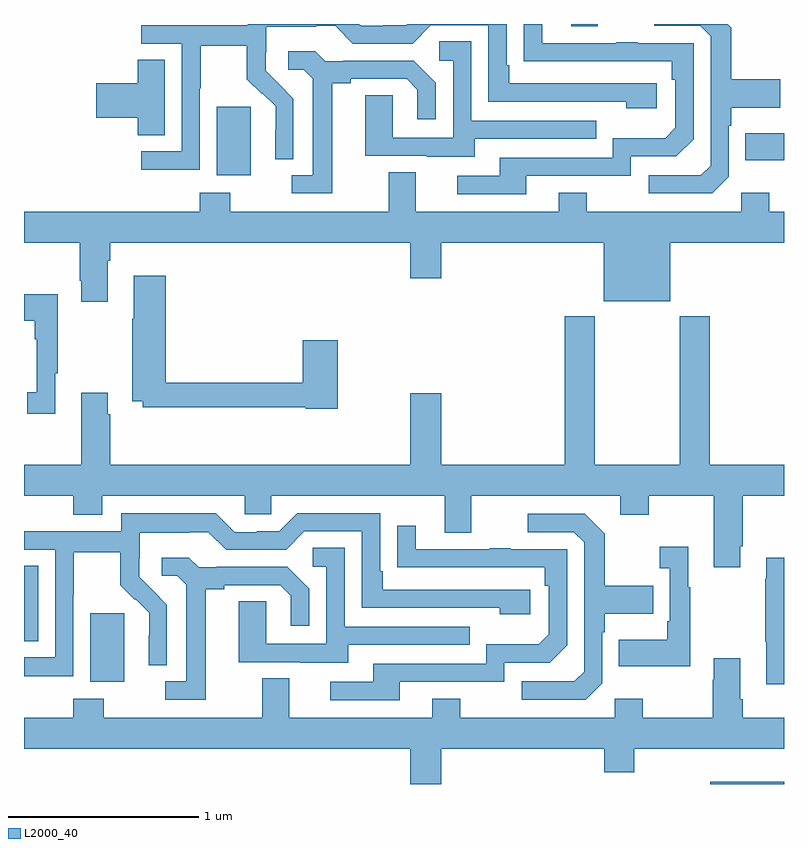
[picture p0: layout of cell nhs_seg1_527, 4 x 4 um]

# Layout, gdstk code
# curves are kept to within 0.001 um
import gdstk
lib = gdstk.Library(unit=1e-6, precision=1e-09)
def R(c, l, rs):  # rectangles x0, y0, x1, y1
    for r in rs: c.add(gdstk.rectangle(r[:2], r[2:], *l))
def P(c, l, *ps):  # polygons
    for p in ps: c.add(gdstk.Polygon(p, *l))
L2000_40 = (2000, 40)

nhs_seg1_527 = lib.new_cell('nhs_seg1_527')
R(nhs_seg1_527, L2000_40, [(142.611,566.199,143,566.212), (139.349,566.738,139.528,567.099), (139,566.95,139.075,567.347), (140.015,569.402,140.194,569.763), (142.795,569.483,143,569.623), (141.881,570.186,142.021,570.199)])
P(nhs_seg1_527, L2000_40, [(139.926,569.86),(139.929,569.86),(139.929,570.084),(140.173,570.084),(140.173,569.909),(140.25,569.832),(140.253,569.835),(140.324,569.765),(140.324,569.642),(140.322,569.642),(140.322,569.488),(140.418,569.488),(140.418,569.806),(140.272,569.954),(140.272,570.051),(140.274,570.051),(140.274,570.185),(140.537,570.185),(140.537,570.189),(140.637,570.189),(140.73,570.096),(141.045,570.096),(141.141,570.192),(141.444,570.192),(141.444,569.79),(142.169,569.79),(142.169,569.756),(142.33,569.756),(142.33,569.886),(141.553,569.886),(141.553,569.983),(141.54,569.983),(141.54,570.199),(141.016,570.199),(141.009,570.192),(140.891,570.192),(140.891,570.189),(140.775,570.189),(140.765,570.199),(140.178,570.199),(140.178,570.192),(139.617,570.192),(139.617,570.096),(139.83,570.096),(139.83,569.529),(139.617,569.529),(139.617,569.431),(139.926,569.431)],
  [(141.643,569.4),(142.194,569.4),(142.194,569.502),(142.434,569.502),(142.524,569.592),(142.524,570.099),(142.229,570.099),(142.229,570.104),(142.117,570.104),(142.117,570.099),(141.727,570.099),(141.727,570.199),(141.631,570.199),(141.631,570.004),(142.408,570.003),(142.408,569.906),(142.428,569.906),(142.428,569.652),(142.375,569.599),(142.098,569.599),(142.098,569.496),(141.503,569.496),(141.503,569.4),(141.279,569.4),(141.279,569.304),(141.643,569.304)],
  [(142.71,569.394),(142.71,569.663),(142.723,569.663),(142.723,569.759),(142.979,569.759),(142.979,569.907),(142.723,569.907),(142.723,570.179),(142.703,570.199),(142.317,570.199),(142.317,570.189),(142.56,570.189),(142.614,570.135),(142.614,569.454),(142.563,569.403),(142.287,569.403),(142.287,569.307),(142.623,569.307)],
  [(141.373,569.595),(142.013,569.595),(142.013,569.691),(141.354,569.691),(141.354,570.107),(141.186,570.107),(141.186,570.006),(141.258,570.006),(141.258,569.601),(140.94,569.601),(140.94,569.825),(140.795,569.825),(140.795,569.505),(141.119,569.505),(141.119,569.501),(141.373,569.501)],
  [(140.623,569.888),(140.719,569.888),(140.719,569.91),(141.014,569.91),(141.071,569.853),(141.071,569.697),(141.168,569.697),(141.168,569.89),(141.052,570.006),(140.68,570.006),(140.68,570.003),(140.586,570.003),(140.534,570.055),(140.391,570.055),(140.391,569.958),(140.472,569.958),(140.519,569.911),(140.519,569.403),(140.409,569.403),(140.409,569.307),(140.623,569.307)],
  [(139.741,570.011),(139.598,570.011),(139.598,569.888),(139.38,569.888),(139.38,569.705),(139.598,569.705),(139.598,569.614),(139.741,569.614)],
  [(139.441,568.952),(139.454,568.952),(139.454,569.048),(141.032,569.048),(141.032,568.86),(141.196,568.86),(141.196,569.048),(142.052,569.048),(142.052,568.739),(142.402,568.739),(142.402,569.048),(143,569.048),(143,569.212),(142.923,569.212),(142.923,569.311),(142.776,569.311),(142.776,569.212),(141.963,569.212),(141.963,569.311),(141.815,569.311),(141.815,569.212),(141.061,569.212),(141.061,569.42),(140.921,569.42),(140.921,569.212),(140.085,569.212),(140.085,569.311),(139.925,569.311),(139.925,569.212),(139,569.212),(139,569.048),(139.294,569.048),(139.294,568.849),(139.301,568.849),(139.301,568.737),(139.441,568.737)],
  [(140.651,568.534),(140.468,568.534),(140.468,568.31),(139.745,568.31),(139.745,568.873),(139.577,568.873),(139.577,568.649),(139.57,568.649),(139.57,568.214),(139.626,568.214),(139.626,568.182),(140.484,568.182),(140.484,568.174),(140.651,568.174)],
  [(139.165,568.361),(139.177,568.361),(139.177,568.777),(139,568.777),(139,568.637),(139.056,568.637),(139.056,568.541),(139.068,568.541),(139.068,568.262),(139.017,568.262),(139.017,568.149),(139.165,568.149)],
  [(142.771,567.451),(142.784,567.451),(142.784,567.716),(143,567.716),(143,567.88),(142.61,567.88),(142.61,568.66),(142.45,568.66),(142.45,567.88),(142.005,567.88),(142.005,568.66),(141.845,568.66),(141.845,567.88),(141.196,567.88),(141.196,568.255),(141.032,568.255),(141.032,567.88),(139.454,567.88),(139.454,568.145),(139.441,568.145),(139.441,568.258),(139.301,568.258),(139.301,567.88),(139,567.88),(139,567.716),(139.259,567.716),(139.259,567.617),(139.411,567.617),(139.411,567.716),(140.163,567.716),(140.163,567.618),(140.301,567.618),(140.301,567.716),(141.215,567.716),(141.215,567.522),(141.355,567.522),(141.355,567.716),(142.139,567.716),(142.139,567.617),(142.287,567.617),(142.287,567.716),(142.631,567.716),(142.631,567.339),(142.771,567.339)],
  [(139.26,567.196),(139.263,567.196),(139.263,567.42),(139.507,567.42),(139.507,567.245),(139.584,567.168),(139.587,567.171),(139.658,567.101),(139.658,566.978),(139.656,566.978),(139.656,566.824),(139.752,566.824),(139.752,567.142),(139.606,567.29),(139.606,567.387),(139.608,567.387),(139.608,567.521),(139.871,567.521),(139.871,567.525),(139.971,567.525),(140.064,567.432),(140.379,567.432),(140.475,567.528),(140.778,567.528),(140.778,567.126),(141.503,567.126),(141.503,567.092),(141.664,567.092),(141.664,567.222),(140.887,567.222),(140.887,567.319),(140.874,567.319),(140.874,567.624),(140.439,567.624),(140.343,567.528),(140.225,567.528),(140.225,567.525),(140.109,567.525),(140.009,567.625),(139.512,567.625),(139.512,567.528),(139,567.528),(139,567.432),(139.164,567.432),(139.164,566.865),(139,566.865),(139,566.767),(139.26,566.767)],
  [(142.044,566.73),(142.044,566.999),(142.057,566.999),(142.057,567.095),(142.313,567.095),(142.313,567.243),(142.057,567.243),(142.057,567.515),(141.951,567.621),(141.651,567.621),(141.651,567.525),(141.894,567.525),(141.948,567.471),(141.948,566.79),(141.897,566.739),(141.621,566.739),(141.621,566.643),(141.957,566.643)],
  [(140.977,566.736),(141.528,566.736),(141.528,566.838),(141.768,566.838),(141.858,566.928),(141.858,567.435),(141.563,567.435),(141.563,567.44),(141.451,567.44),(141.451,567.435),(141.061,567.435),(141.061,567.559),(140.965,567.559),(140.965,567.34),(141.742,567.339),(141.742,567.242),(141.762,567.242),(141.762,566.988),(141.709,566.935),(141.432,566.935),(141.432,566.832),(140.837,566.832),(140.837,566.736),(140.613,566.736),(140.613,566.64),(140.977,566.64)],
  [(142.507,567.235),(142.495,567.235),(142.495,567.448),(142.347,567.448),(142.347,567.335),(142.398,567.335),(142.398,567.055),(142.386,567.055),(142.386,566.959),(142.129,566.959),(142.129,566.819),(142.507,566.819)],
  [(140.707,566.931),(141.347,566.931),(141.347,567.027),(140.688,567.027),(140.688,567.443),(140.52,567.443),(140.52,567.342),(140.592,567.342),(140.592,566.937),(140.274,566.937),(140.274,567.161),(140.129,567.161),(140.129,566.841),(140.453,566.841),(140.453,566.837),(140.707,566.837)],
  [(143,567.391),(142.907,567.391),(142.907,567.278),(142.9,567.278),(142.9,566.947),(142.907,566.947),(142.907,566.724),(143,566.724)],
  [(139.957,567.224),(140.053,567.224),(140.053,567.246),(140.348,567.246),(140.405,567.189),(140.405,567.033),(140.502,567.033),(140.502,567.226),(140.386,567.342),(140.014,567.342),(140.014,567.339),(139.92,567.339),(139.868,567.391),(139.725,567.391),(139.725,567.294),(139.806,567.294),(139.853,567.247),(139.853,566.739),(139.743,566.739),(139.743,566.643),(139.957,566.643)],
  [(141.196,566.384),(142.055,566.384),(142.055,566.26),(142.211,566.26),(142.211,566.384),(143,566.384),(143,566.548),(142.784,566.548),(142.784,566.644),(142.771,566.644),(142.771,566.86),(142.631,566.86),(142.631,566.747),(142.624,566.747),(142.624,566.548),(142.257,566.548),(142.257,566.647),(142.11,566.647),(142.11,566.548),(141.297,566.548),(141.297,566.647),(141.149,566.647),(141.149,566.548),(140.395,566.548),(140.395,566.756),(140.255,566.756),(140.255,566.548),(139.419,566.548),(139.419,566.647),(139.259,566.647),(139.259,566.548),(139,566.548),(139,566.384),(141.032,566.384),(141.032,566.199),(141.196,566.199)])

lib.write_gds('nhs_seg1_527.gds')
